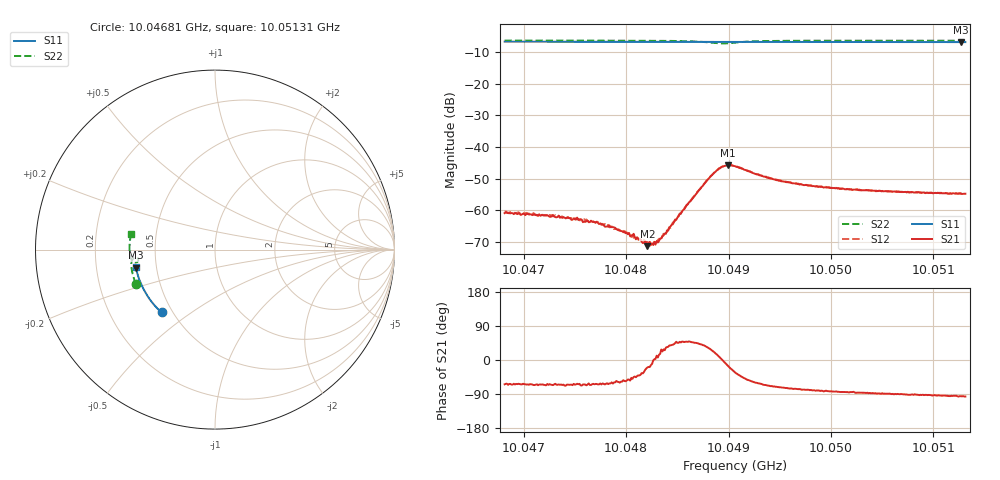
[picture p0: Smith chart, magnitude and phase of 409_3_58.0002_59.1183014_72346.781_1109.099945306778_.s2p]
#  HZ  S  RI  R  50.00
! Rohde & Schwarz Vector Network Analyzer
! Rohde-Schwarz,ZNB20-2Port,1311601062101988,3.16
! Created: UTC 3/21/2024, 1:08:40 AM
! freq[Hz]  re:S11  im:S11  re:S21  im:S21  re:S12  im:S12  re:S22  im:S22
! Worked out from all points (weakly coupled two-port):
!   401 points, 10.04681 GHz to 10.05131 GHz, reference 50 ohm
!   highest |S21| = -45.75 dB at 10.049 GHz (marker M1); lowest = -71.3 dB at 10.04821 GHz (marker M2)
!   lowest |S11| = -6.9 dB at 10.05127 GHz (marker M3), VSWR 2.65, Z = 19.1 - j4.82 ohm
!   |S11| at or under -10 dB: nowhere
!   |S22| runs from -7.3 to -6.4 dB; largest |S21 - S12| = 0.00036
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1.0046813e10  -0.298 -0.3504  0.000394 -0.000816  0.000496 -0.000822  -0.4405 -0.1911
1.0047297e10  -0.3208 -0.3281  0.000345 -0.000722  0.0004 -0.000709  -0.4516 -0.1601
1.0047567e10  -0.333 -0.3149  0.000276 -0.000657  0.000344 -0.000631  -0.4571 -0.1423
1.0047702e10  -0.339 -0.3083  0.00029 -0.000573  0.000312 -0.000561  -0.4595 -0.1333
1.0047859e10  -0.3455 -0.3003  0.000279 -0.000467  0.000297 -0.000468  -0.4619 -0.1222
1.0047994e10  -0.351 -0.2933  0.000244 -0.000364  0.000288 -0.000359  -0.4636 -0.1123
1.0048096e10  -0.3551 -0.2882  0.000246 -0.00025  0.000277 -0.000229  -0.4647 -0.105
1.0048186e10  -0.3588 -0.2834  0.000295 -0.000144  0.000297 -0.000144  -0.4659 -0.0981
1.0048208e10  -0.3596 -0.2821  0.000257 -9.17e-05  0.000308 -8.48e-05  -0.4657 -0.0963
1.0048253e10  -0.3614 -0.2797  0.000295 -5.41e-05  0.000296 -4.23e-05  -0.4661 -0.0928
1.0048321e10  -0.364 -0.2761  0.000319 7.96e-05  0.000339 0.000111  -0.4664 -0.0872
1.0048422e10  -0.3677 -0.2706  0.000413 0.000326  0.000418 0.000353  -0.4663 -0.0786
1.0048546e10  -0.3723 -0.2638  0.000635 0.000722  0.000561 0.00078  -0.4646 -0.0672
1.0048816e10  -0.3815 -0.2487  0.00286 0.00165  0.00279 0.00183  -0.444 -0.0438
1.0048917e10  -0.385 -0.2432  0.00461 0.000507  0.00461 0.000833  -0.4292 -0.0506
1.0048995e10  -0.3875 -0.2389  0.00496 -0.00142  0.00506 -0.00112  -0.429 -0.0645
1.0049063e10  -0.3897 -0.2353  0.00421 -0.00268  0.00442 -0.00243  -0.4387 -0.0713
1.0049468e10  -0.4025 -0.2118  0.000996 -0.00283  0.00115 -0.00284  -0.471 -0.0422
1.0049817e10  -0.4122 -0.1909  0.000415 -0.00238  0.000597 -0.00239  -0.4757 -0.0143
1.005057e10  -0.4295 -0.1447  4.79e-05 -0.00199  0.000146 -0.00199  -0.4749 0.0392
1.0051267e10  -0.4408 -0.1005  -0.000185 -0.00184  -8.82e-05 -0.00182  -0.4685 0.0859
1.0051312e10  -0.4415 -0.0977  -0.0002 -0.00182  -9.03e-05 -0.00182  -0.4679 0.0887
